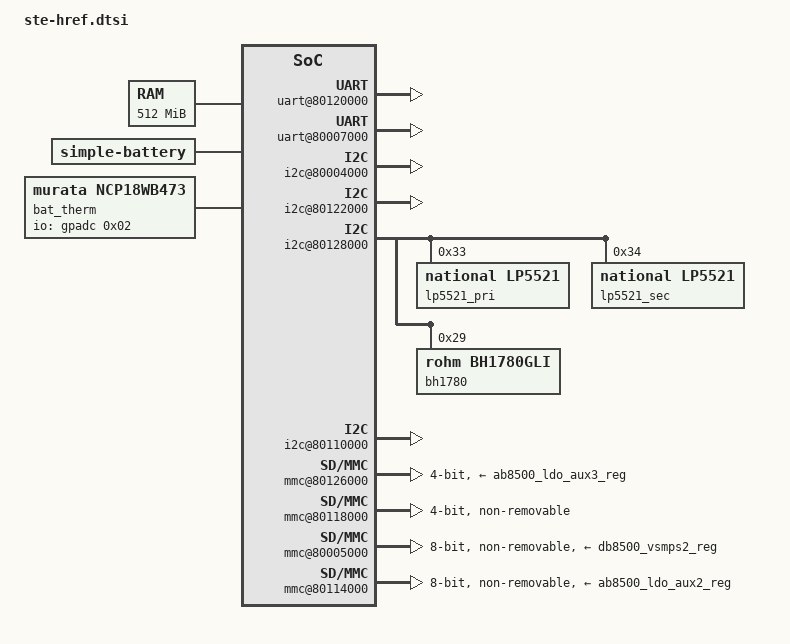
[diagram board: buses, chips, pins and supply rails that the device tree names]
// SPDX-License-Identifier: GPL-2.0-or-later
/*
 * Copyright 2012 ST-Ericsson AB
 */

#include <dt-bindings/interrupt-controller/irq.h>
#include <dt-bindings/leds/common.h>
#include "ste-href-family-pinctrl.dtsi"

/ {
	memory {
		device_type = "memory";
		reg = <0x00000000 0x20000000>;
	};

	battery: battery {
		compatible = "simple-battery";
		battery-type = "lithium-ion-polymer";
	};

	thermal-zones {
		battery-thermal {
			/* This zone will be polled by the battery temperature code */
			polling-delay = <0>;
			polling-delay-passive = <0>;
			thermal-sensors = <&bat_therm>;

			trips {
				battery-crit-hi {
					temperature = <70000>;
					hysteresis = <2000>;
					type = "critical";
				};
			};
		};
	};

	bat_therm: thermistor {
		compatible = "murata,ncp18wb473";
		io-channels = <&gpadc 0x02>; /* BatTemp */
		pullup-uv = <1800000>;
		pullup-ohm = <230000>;
		pulldown-ohm = <0>;
		#thermal-sensor-cells = <0>;
	};

	soc {
		uart@80120000 {
			pinctrl-names = "default", "sleep";
			pinctrl-0 = <&u0_a_1_default>;
			pinctrl-1 = <&u0_a_1_sleep>;
			status = "okay";
		};

		/* This UART is unused and thus left disabled */
		uart@80121000 {
			pinctrl-names = "default", "sleep";
			pinctrl-0 = <&u1rxtx_a_1_default>;
			pinctrl-1 = <&u1rxtx_a_1_sleep>;
		};

		uart@80007000 {
			pinctrl-names = "default", "sleep";
			pinctrl-0 = <&u2rxtx_c_1_default>;
			pinctrl-1 = <&u2rxtx_c_1_sleep>;
			status = "okay";
		};

		i2c@80004000 {
			pinctrl-names = "default","sleep";
			pinctrl-0 = <&i2c0_a_1_default>;
			pinctrl-1 = <&i2c0_a_1_sleep>;
			status = "okay";
		};

		i2c@80122000 {
			pinctrl-names = "default","sleep";
			pinctrl-0 = <&i2c1_b_2_default>;
			pinctrl-1 = <&i2c1_b_2_sleep>;
			status = "okay";
		};

		i2c@80128000 {
			pinctrl-names = "default","sleep";
			pinctrl-0 = <&i2c2_b_2_default>;
			pinctrl-1 = <&i2c2_b_2_sleep>;
			status = "okay";
			lp5521@33 {
				compatible = "national,lp5521";
				reg = <0x33>;
				label = "lp5521_pri";
				clock-mode = /bits/ 8 <2>;
				#address-cells = <1>;
				#size-cells = <0>;
				chan@0 {
					reg = <0>;
					led-cur = /bits/ 8 <0x2f>;
					max-cur = /bits/ 8 <0x5f>;
					color = <LED_COLOR_ID_BLUE>;
					linux,default-trigger = "heartbeat";
				};
				chan@1 {
					reg = <1>;
					led-cur = /bits/ 8 <0x2f>;
					max-cur = /bits/ 8 <0x5f>;
					color = <LED_COLOR_ID_BLUE>;
				};
				chan@2 {
					reg = <2>;
					led-cur = /bits/ 8 <0x2f>;
					max-cur = /bits/ 8 <0x5f>;
					color = <LED_COLOR_ID_BLUE>;
				};
			};
			lp5521@34 {
				compatible = "national,lp5521";
				reg = <0x34>;
				label = "lp5521_sec";
				clock-mode = /bits/ 8 <2>;
				#address-cells = <1>;
				#size-cells = <0>;
				chan@0 {
					reg = <0>;
					led-cur = /bits/ 8 <0x2f>;
					max-cur = /bits/ 8 <0x5f>;
					color = <LED_COLOR_ID_BLUE>;
				};
				chan@1 {
					reg = <1>;
					led-cur = /bits/ 8 <0x2f>;
					max-cur = /bits/ 8 <0x5f>;
					color = <LED_COLOR_ID_BLUE>;
				};
				chan@2 {
					reg = <2>;
					led-cur = /bits/ 8 <0x2f>;
					max-cur = /bits/ 8 <0x5f>;
					color = <LED_COLOR_ID_BLUE>;
				};
			};
			bh1780@29 {
				compatible = "rohm,bh1780gli";
				reg = <0x29>;
			};
		};

		i2c@80110000 {
			pinctrl-names = "default","sleep";
			pinctrl-0 = <&i2c3_c_2_default>;
			pinctrl-1 = <&i2c3_c_2_sleep>;
			status = "okay";
		};

		// External Micro SD slot
		mmc@80126000 {
			arm,primecell-periphid = <0x10480180>;
			max-frequency = <100000000>;
			bus-width = <4>;
			cap-sd-highspeed;
			cap-mmc-highspeed;
			sd-uhs-sdr12;
			sd-uhs-sdr25;
			full-pwr-cycle;
			st,sig-dir-dat0;
			st,sig-dir-dat2;
			st,sig-dir-cmd;
			st,sig-pin-fbclk;
			vmmc-supply = <&ab8500_ldo_aux3_reg>;
			vqmmc-supply = <&vmmci>;
			pinctrl-names = "default", "sleep";
			pinctrl-0 = <&mc0_a_1_default &sdi0_default_mode>;
			pinctrl-1 = <&mc0_a_1_sleep>;

			status = "okay";
		};

		// WLAN SDIO channel
		mmc@80118000 {
			arm,primecell-periphid = <0x10480180>;
			max-frequency = <100000000>;
			bus-width = <4>;
			non-removable;
			pinctrl-names = "default", "sleep";
			pinctrl-0 = <&mc1_a_1_default>;
			pinctrl-1 = <&mc1_a_1_sleep>;

			status = "okay";
		};

		// PoP:ed eMMC
		mmc@80005000 {
			arm,primecell-periphid = <0x10480180>;
			max-frequency = <100000000>;
			bus-width = <8>;
			cap-mmc-highspeed;
			non-removable;
			no-sdio;
			no-sd;
			vmmc-supply = <&db8500_vsmps2_reg>;
			pinctrl-names = "default", "sleep";
			pinctrl-0 = <&mc2_a_1_default>;
			pinctrl-1 = <&mc2_a_1_sleep>;

			status = "okay";
		};

		// On-board eMMC
		mmc@80114000 {
			arm,primecell-periphid = <0x10480180>;
		        max-frequency = <100000000>;
			bus-width = <8>;
			cap-mmc-highspeed;
			non-removable;
			no-sdio;
			no-sd;
			vmmc-supply = <&ab8500_ldo_aux2_reg>;
			pinctrl-names = "default", "sleep";
			pinctrl-0 = <&mc4_a_1_default>;
			pinctrl-1 = <&mc4_a_1_sleep>;

			status = "okay";
		};

		msp0: msp@80123000 {
			pinctrl-names = "default";
			pinctrl-0 = <&msp0txrxtfstck_a_1_default>;
			status = "okay";
		};

		msp1: msp@80124000 {
			pinctrl-names = "default";
			pinctrl-0 = <&msp1txrx_a_1_default>;
			status = "okay";
		};

		msp2: msp@80117000 {
			pinctrl-names = "default";
			pinctrl-0 = <&msp2_a_1_default>;
		};

		msp3: msp@80125000 {
			status = "okay";
		};

		prcmu@80157000 {
			ab8500 {
				gpio {
				};

				phy {
					pinctrl-names = "default", "sleep";
					pinctrl-0 = <&usb_a_1_default>;
					pinctrl-1 = <&usb_a_1_sleep>;
				};

				regulator {
					ab8500_ldo_aux1_reg: ab8500_ldo_aux1 {
						regulator-name = "V-DISPLAY";
					};

					ab8500_ldo_aux2_reg: ab8500_ldo_aux2 {
						regulator-name = "V-eMMC1";
					};

					ab8500_ldo_aux3_reg: ab8500_ldo_aux3 {
						regulator-name = "V-MMC-SD";
					};

					ab8500_ldo_intcore_reg: ab8500_ldo_intcore {
						regulator-name = "V-INTCORE";
					};

					ab8500_ldo_tvout_reg: ab8500_ldo_tvout {
						regulator-name = "V-TVOUT";
					};

					ab8500_ldo_audio_reg: ab8500_ldo_audio {
						regulator-name = "V-AUD";
					};

					ab8500_ldo_anamic1_reg: ab8500_ldo_anamic1 {
						regulator-name = "V-AMIC1";
					};

					ab8500_ldo_anamic2_reg: ab8500_ldo_anamic2 {
						regulator-name = "V-AMIC2";
					};

					ab8500_ldo_dmic_reg: ab8500_ldo_dmic {
						regulator-name = "V-DMIC";
					};

					ab8500_ldo_ana_reg: ab8500_ldo_ana {
						regulator-name = "V-CSI/DSI";
					};
				};
			};
		};

		pinctrl {
			sdi0 {
				sdi0_default_mode: sdi0_default {
					/* Some boards set additional settings here */
				};
			};
		};

		mcde@a0350000 {
			pinctrl-names = "default", "sleep";
			pinctrl-0 = <&lcd_default_mode>;
			pinctrl-1 = <&lcd_sleep_mode>;
		};
	};
};
